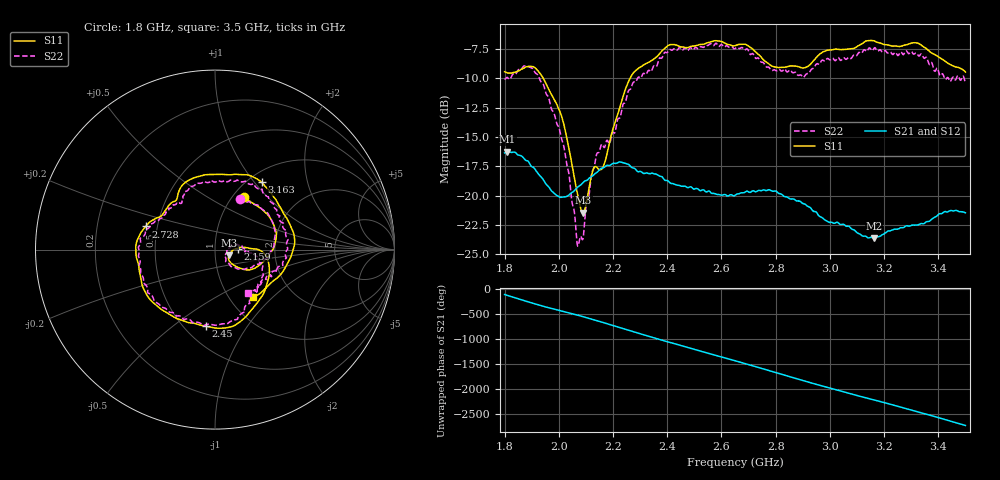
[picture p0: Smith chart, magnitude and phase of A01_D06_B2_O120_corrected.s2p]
! Created with skrf 1.9.0 (http://scikit-rf.org).
# Hz S RI R 50.0
!freq ReS11 ImS11 ReS21 ImS21 ReS12 ImS12 ReS22 ImS22
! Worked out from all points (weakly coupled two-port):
!   1601 points, 1.8 GHz to 3.5 GHz, reference 50 ohm
!   highest |S21| = -16.27 dB at 1.811 GHz (marker M1); lowest = -23.6 dB at 3.163 GHz (marker M2)
!   lowest |S11| = -21.4 dB at 2.09 GHz (marker M3), VSWR 1.19, Z = 58.4 - j3.63 ohm
!   |S11| at or under -10 dB: 1.943 GHz to 2.263 GHz (320.6 MHz wide, 15.2 % of centre)
!   |S22| runs from -24.3 to -7.0 dB; largest |S21 - S12| = 0.0026
!   S11 on the Smith chart (normalised r, x): 1.8 GHz: 1.13, +0.75; 2.159 GHz: 1.30, +0.01; 2.45 GHz: 0.63, -0.66; 2.728 GHz: 0.43, +0.13; 3.163 GHz: 1.15, +1.09; 3.5 GHz: 1.28, -0.76
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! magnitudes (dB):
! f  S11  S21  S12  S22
! 1.8 GHz  -9.5  -16.4  -16.4  -10.1
! 1.811 GHz  -9.6  -16.3  -16.3  -9.9
! 1.881 GHz  -9.0  -17.0  -17.0  -9.0
! 1.942 GHz  -10.0  -18.6  -18.6  -10.5
! 2.013 GHz  -13.4  -20.1  -20.1  -15.3
! 2.068 GHz  -19.7  -19.3  -19.3  -24.1
! 2.084 GHz  -21.3  -19.0  -19.0  -23.6
! 2.09 GHz  -21.4  -18.9  -18.9  -23.5
! 2.127 GHz  -17.7  -18.3  -18.3  -17.8
! 2.159 GHz  -17.7  -17.7  -17.6  -15.6
! 2.192 GHz  -15.0  -17.4  -17.4  -15.2
! 2.261 GHz  -10.1  -17.4  -17.4  -11.0
! 2.367 GHz  -8.0  -18.3  -18.2  -8.5
! 2.45 GHz  -7.3  -19.2  -19.2  -7.5
! 2.65 GHz  -7.2  -20.0  -19.9  -7.5
! 2.728 GHz  -7.8  -19.7  -19.7  -8.3
! 2.802 GHz  -9.1  -19.6  -19.7  -9.4
! 2.934 GHz  -8.7  -21.2  -21.2  -9.2
! 3.163 GHz  -6.8  -23.6  -23.6  -7.4
! 3.217 GHz  -7.2  -23.0  -23.0  -7.8
! 3.324 GHz  -7.0  -22.5  -22.5  -8.0
! 3.5 GHz  -9.5  -21.5  -21.4  -10.4
